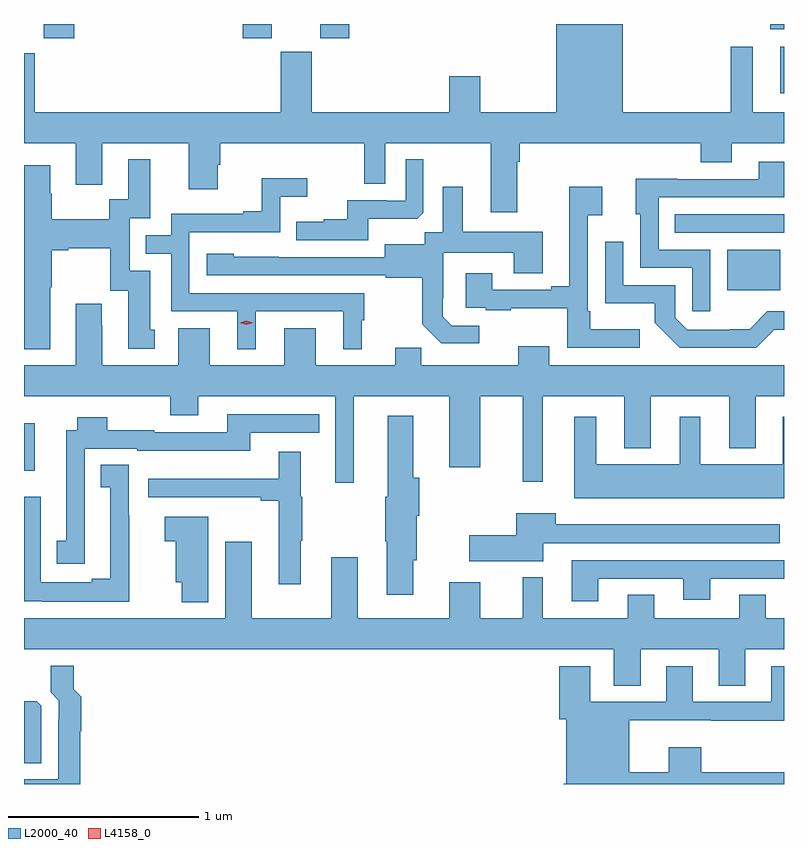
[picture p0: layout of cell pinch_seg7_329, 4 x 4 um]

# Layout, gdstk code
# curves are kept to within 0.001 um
import gdstk
lib = gdstk.Library(unit=1e-6, precision=1e-09)
def R(c, l, rs):  # rectangles x0, y0, x1, y1
    for r in rs: c.add(gdstk.rectangle(r[:2], r[2:], *l))
def P(c, l, *ps):  # polygons
    for p in ps: c.add(gdstk.Polygon(p, *l))
L2000_40 = (2000, 40)
L4158_0 = (4158, 0)

pinch_seg7_329 = lib.new_cell('pinch_seg7_329')
R(pinch_seg7_329, L2000_40, [(438.494,1070.822,438.55,1071.07), (442.196,1071.77,442.474,1071.985), (441.919,1072.074,442.494,1072.17), (442.475,1072.808,442.494,1073.053), (438.598,1073.097,438.758,1073.172), (439.646,1073.097,439.798,1073.172), (440.054,1073.097,440.207,1073.172), (442.422,1073.144,442.494,1073.172)])
P(pinch_seg7_329, L2000_40, [(441.091,1072.448),(441.104,1072.448),(441.104,1072.544),(442.055,1072.544),(442.055,1072.445),(442.219,1072.445),(442.219,1072.544),(442.494,1072.544),(442.494,1072.708),(442.33,1072.708),(442.33,1073.053),(442.213,1073.053),(442.213,1072.708),(441.646,1072.708),(441.646,1073.172),(441.296,1073.172),(441.296,1072.708),(440.896,1072.708),(440.896,1072.897),(440.732,1072.897),(440.732,1072.708),(440.008,1072.708),(440.008,1073.025),(439.844,1073.025),(439.844,1072.708),(438.55,1072.708),(438.55,1073.017),(438.494,1073.017),(438.494,1072.544),(438.767,1072.544),(438.767,1072.326),(438.907,1072.326),(438.907,1072.544),(439.361,1072.544),(439.361,1072.302),(439.513,1072.302),(439.513,1072.431),(439.526,1072.431),(439.526,1072.544),(440.286,1072.544),(440.286,1072.33),(440.394,1072.33),(440.394,1072.544),(440.951,1072.544),(440.951,1072.182),(441.091,1072.182)],
  [(438.631,1071.787),(438.639,1071.787),(438.639,1071.98),(438.727,1071.98),(438.727,1071.992),(438.947,1071.992),(438.947,1071.768),(439.043,1071.768),(439.043,1071.462),(439.183,1071.462),(439.183,1071.564),(439.159,1071.564),(439.159,1071.873),(439.05,1071.873),(439.05,1072.149),(439.159,1072.149),(439.159,1072.459),(439.043,1072.459),(439.043,1072.25),(438.942,1072.25),(438.942,1072.144),(438.639,1072.144),(438.639,1072.278),(438.631,1072.278),(438.631,1072.429),(438.494,1072.429),(438.494,1071.461),(438.631,1071.461)],
  [(440.305,1072.148),(440.563,1072.148),(440.595,1072.179),(440.595,1072.459),(440.502,1072.459),(440.502,1072.242),(440.402,1072.242),(440.402,1072.245),(440.195,1072.245),(440.195,1072.144),(440.071,1072.144),(440.071,1072.132),(439.927,1072.132),(439.927,1072.035),(440.305,1072.035)],
  [(442.107,1071.984),(441.834,1071.984),(441.834,1072.26),(442.494,1072.26),(442.494,1072.447),(442.361,1072.447),(442.361,1072.356),(441.931,1072.356),(441.931,1072.358),(441.713,1072.358),(441.713,1072.17),(441.738,1072.17),(441.738,1071.888),(442.011,1071.888),(442.011,1071.66),(442.107,1071.66)],
  [(439.714,1071.66),(440.174,1071.66),(440.174,1071.461),(440.272,1071.461),(440.272,1071.612),(440.284,1071.612),(440.284,1071.756),(439.365,1071.756),(439.365,1072.077),(439.842,1072.077),(439.842,1072.262),(439.984,1072.262),(439.984,1072.361),(439.744,1072.361),(439.744,1072.186),(439.649,1072.186),(439.649,1072.173),(439.269,1072.173),(439.269,1072.059),(439.135,1072.059),(439.135,1071.963),(439.269,1071.963),(439.269,1071.66),(439.616,1071.66),(439.616,1071.461),(439.714,1071.461)],
  [(440.89,1071.585),(440.745,1071.585),(440.698,1071.632),(440.698,1071.727),(440.7,1071.727),(440.7,1071.968),(441.071,1071.968),(441.071,1071.859),(441.223,1071.859),(441.223,1072.078),(440.803,1072.078),(440.803,1072.315),(440.699,1072.315),(440.699,1072.076),(440.604,1072.076),(440.604,1072.012),(440.393,1072.012),(440.393,1071.945),(439.599,1071.946),(439.599,1071.964),(439.455,1071.964),(439.455,1071.849),(440.397,1071.849),(440.397,1071.837),(440.589,1071.837),(440.589,1071.591),(440.689,1071.491),(440.89,1071.491)],
  [(441.736,1071.565),(441.475,1071.565),(441.475,1071.661),(441.462,1071.661),(441.462,1072.166),(441.538,1072.166),(441.538,1072.315),(441.365,1072.315),(441.365,1071.793),(441.269,1071.793),(441.269,1071.774),(440.959,1071.774),(440.959,1071.859),(440.819,1071.859),(440.819,1071.678),(440.923,1071.678),(440.923,1071.666),(441.055,1071.666),(441.055,1071.677),(441.354,1071.677),(441.354,1071.468),(441.736,1071.468)],
  [(442.442,1071.563),(442.494,1071.563),(442.494,1071.66),(442.407,1071.66),(442.313,1071.566),(442.208,1071.566),(442.208,1071.564),(441.984,1071.564),(441.921,1071.627),(441.921,1071.798),(441.648,1071.798),(441.648,1072.027),(441.552,1072.027),(441.552,1071.701),(441.814,1071.701),(441.814,1071.599),(441.944,1071.468),(442.347,1071.468)],
  [(440.23,1071.212),(440.732,1071.212),(440.732,1070.838),(440.896,1070.838),(440.896,1071.212),(441.119,1071.212),(441.119,1070.763),(441.223,1070.763),(441.223,1071.212),(441.653,1071.212),(441.653,1070.939),(441.793,1070.939),(441.793,1071.212),(442.205,1071.212),(442.205,1070.939),(442.345,1070.939),(442.345,1071.212),(442.494,1071.212),(442.494,1071.376),(441.259,1071.376),(441.259,1071.475),(441.095,1071.475),(441.095,1071.376),(440.585,1071.376),(440.585,1071.467),(440.447,1071.467),(440.447,1071.376),(440.029,1071.376),(440.029,1071.571),(439.865,1071.571),(439.865,1071.376),(439.471,1071.376),(439.471,1071.571),(439.307,1071.571),(439.307,1071.376),(438.907,1071.376),(438.907,1071.587),(438.904,1071.587),(438.904,1071.7),(438.767,1071.7),(438.767,1071.376),(438.494,1071.376),(438.494,1071.212),(439.264,1071.212),(439.264,1071.113),(439.411,1071.113),(439.411,1071.212),(440.133,1071.212),(440.133,1070.757),(440.23,1070.757)],
  [(438.814,1070.654),(438.813,1070.654),(438.813,1070.937),(439.089,1070.937),(439.089,1070.927),(439.684,1070.927),(439.684,1071.021),(440.048,1071.021),(440.048,1071.117),(439.565,1071.117),(439.565,1071.024),(439.179,1071.024),(439.179,1071.034),(438.933,1071.034),(438.933,1071.103),(438.773,1071.103),(438.773,1071.033),(438.716,1071.033),(438.716,1070.451),(438.667,1070.451),(438.667,1070.331),(438.814,1070.331)],
  [(440.542,1070.349),(440.56,1070.349),(440.56,1070.585),(440.573,1070.585),(440.573,1070.785),(440.542,1070.785),(440.542,1071.109),(440.408,1071.109),(440.408,1070.685),(440.395,1070.685),(440.395,1070.449),(440.402,1070.449),(440.402,1070.169),(440.542,1070.169)],
  [(442.494,1071.106),(442.487,1071.106),(442.487,1070.854),(442.054,1070.854),(442.054,1071.106),(441.944,1071.106),(441.944,1070.854),(441.505,1070.854),(441.505,1071.106),(441.389,1071.106),(441.389,1070.675),(442.494,1070.675)],
  [(439.951,1070.452),(439.959,1070.452),(439.959,1070.685),(439.951,1070.685),(439.951,1070.92),(439.835,1070.92),(439.835,1070.779),(439.149,1070.779),(439.149,1070.682),(439.561,1070.682),(439.561,1070.68),(439.739,1070.68),(439.739,1070.662),(439.835,1070.662),(439.835,1070.223),(439.951,1070.223)],
  [(439.047,1070.585),(439.044,1070.585),(439.044,1070.852),(438.898,1070.852),(438.898,1070.734),(438.947,1070.734),(438.947,1070.251),(438.851,1070.251),(438.851,1070.233),(438.582,1070.233),(438.582,1070.683),(438.494,1070.683),(438.494,1070.133),(438.589,1070.133),(438.589,1070.132),(439.047,1070.132)],
  [(441.226,1070.438),(442.471,1070.438),(442.471,1070.539),(441.292,1070.539),(441.292,1070.596),(441.086,1070.596),(441.086,1070.48),(440.838,1070.48),(440.838,1070.345),(441.226,1070.345)],
  [(439.465,1070.578),(439.236,1070.578),(439.236,1070.449),(439.292,1070.449),(439.292,1070.234),(439.325,1070.234),(439.325,1070.129),(439.465,1070.129)],
  [(441.739,1069.88),(442.151,1069.88),(442.151,1069.69),(442.291,1069.69),(442.291,1069.88),(442.494,1069.88),(442.494,1070.044),(442.399,1070.044),(442.399,1070.168),(442.259,1070.168),(442.259,1070.044),(441.811,1070.044),(441.811,1070.168),(441.671,1070.168),(441.671,1070.044),(441.223,1070.044),(441.223,1070.26),(441.119,1070.26),(441.119,1070.044),(440.896,1070.044),(440.896,1070.233),(440.732,1070.233),(440.732,1070.044),(440.251,1070.044),(440.251,1070.365),(440.111,1070.365),(440.111,1070.044),(439.693,1070.044),(439.693,1070.446),(439.553,1070.446),(439.553,1070.044),(438.494,1070.044),(438.494,1069.88),(441.599,1069.88),(441.599,1069.69),(441.739,1069.69)],
  [(441.517,1070.253),(441.965,1070.253),(441.965,1070.141),(442.105,1070.141),(442.105,1070.253),(442.494,1070.253),(442.494,1070.349),(441.377,1070.349),(441.377,1070.133),(441.517,1070.133)],
  [(438.791,1069.45),(438.794,1069.45),(438.794,1069.632),(438.755,1069.671),(438.755,1069.795),(438.635,1069.795),(438.635,1069.654),(438.678,1069.611),(438.678,1069.511),(438.675,1069.511),(438.675,1069.197),(438.494,1069.197),(438.494,1069.172),(438.791,1069.172)],
  [(442.494,1069.234),(442.058,1069.234),(442.058,1069.366),(441.887,1069.366),(441.887,1069.234),(441.679,1069.234),(441.679,1069.508),(442.111,1069.508),(442.111,1069.504),(442.494,1069.504),(442.494,1069.792),(442.427,1069.792),(442.427,1069.605),(442.015,1069.605),(442.015,1069.792),(441.875,1069.792),(441.875,1069.605),(441.475,1069.605),(441.475,1069.792),(441.311,1069.792),(441.311,1069.512),(441.347,1069.512),(441.347,1069.174),(441.335,1069.174),(441.335,1069.172),(442.494,1069.172)],
  [(438.585,1069.584),(438.561,1069.608),(438.494,1069.608),(438.494,1069.282),(438.585,1069.282)])
P(pinch_seg7_329, L4158_0, [(439.665,1071.59),(439.629,1071.599),(439.629,1071.6),(439.629,1071.6),(439.665,1071.61),(439.701,1071.6),(439.701,1071.6),(439.701,1071.599)])

lib.write_gds('pinch_seg7_329.gds')
